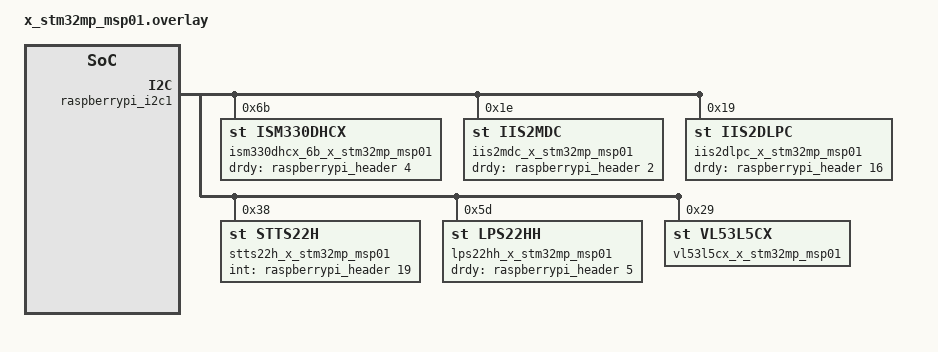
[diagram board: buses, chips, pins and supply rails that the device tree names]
/*
 * Copyright (c) 2026 STMicroelectronics
 *
 * SPDX-License-Identifier: Apache-2.0
 */

#include <zephyr/dt-bindings/sensor/lps22hh.h>
#include <zephyr/dt-bindings/sensor/stts22h.h>

/ {
	aliases {
		magn0 = &iis2mdc_x_stm32mp_msp01;
		accel0 = &ism330dhcx_6b_x_stm32mp_msp01;
		accel1 = &iis2dlpc_x_stm32mp_msp01;
	};
};

&raspberrypi_i2c1 {
	ism330dhcx_6b_x_stm32mp_msp01: ism330dhcx@6b {
		compatible = "st,ism330dhcx";
		reg = <0x6b>;
		drdy-gpios = <&raspberrypi_header 4 GPIO_ACTIVE_HIGH>;
		int-pin = <2>;
	};

	iis2mdc_x_stm32mp_msp01: iis2mdc@1e {
		compatible = "st,iis2mdc";
		reg = <0x1e>;
		drdy-gpios = <&raspberrypi_header 2 GPIO_ACTIVE_HIGH>;
	};

	iis2dlpc_x_stm32mp_msp01: iis2dlpc@19 {
		compatible = "st,iis2dlpc";
		reg = <0x19>;
		drdy-gpios = <&raspberrypi_header 16 GPIO_ACTIVE_HIGH>;
		drdy-int = <1>;
	};

	stts22h_x_stm32mp_msp01: stts22h@38 {
		compatible = "st,stts22h";
		reg = <0x38>;
		int-gpios = <&raspberrypi_header 19 GPIO_ACTIVE_HIGH>;
		sampling-rate = <STTS22H_1Hz>;
	};

	lps22hh_x_stm32mp_msp01: lps22hh@5d {
		compatible = "st,lps22hh";
		reg = <0x5d>;
		drdy-gpios = <&raspberrypi_header 5 GPIO_ACTIVE_HIGH>;
		odr = <LPS22HH_DT_ODR_10HZ>;
	};

	vl53l5cx_x_stm32mp_msp01: vl53l5cx@29 {
		compatible = "st,vl53l5cx";
		reg = <0x29>;
	};
};
